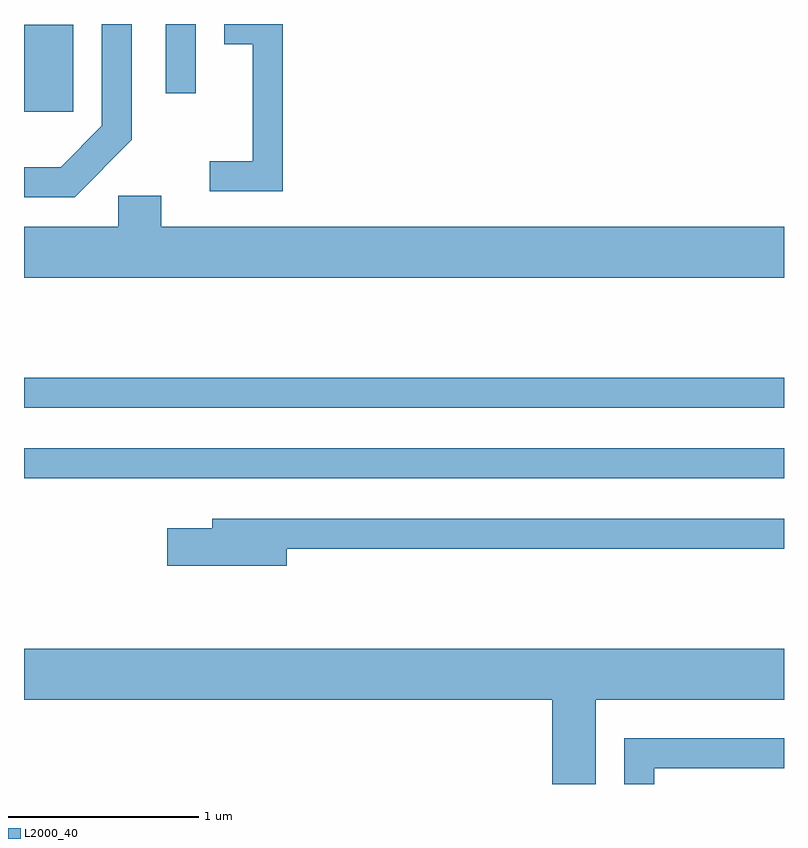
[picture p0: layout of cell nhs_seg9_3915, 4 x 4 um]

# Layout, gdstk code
import gdstk
lib = gdstk.Library(unit=1e-6, precision=1e-09)
def R(c, l, rs):  # rectangles x0, y0, x1, y1
    for r in rs: c.add(gdstk.rectangle(r[:2], r[2:], *l))
def P(c, l, *ps):  # polygons
    for p in ps: c.add(gdstk.Polygon(p, *l))
L2000_40 = (2000, 40)

nhs_seg9_3915 = lib.new_cell('nhs_seg9_3915')
R(nhs_seg9_3915, L2000_40, [(299.611,2044.041,303.611,2044.199), (299.611,2044.411,303.611,2044.569), (299.611,2045.971,299.869,2046.429), (300.356,2046.068,300.514,2046.432)])
P(nhs_seg9_3915, L2000_40, [(300.179,2045.824),(300.179,2046.432),(300.021,2046.432),(300.021,2045.897),(299.804,2045.679),(299.611,2045.679),(299.611,2045.521),(299.877,2045.521)],
  [(300.974,2046.432),(300.666,2046.432),(300.666,2046.326),(300.816,2046.326),(300.816,2045.709),(300.588,2045.709),(300.588,2045.551),(300.974,2045.551)],
  [(303.611,2045.364),(300.334,2045.364),(300.334,2045.529),(300.106,2045.529),(300.106,2045.364),(299.611,2045.364),(299.611,2045.096),(303.611,2045.096)],
  [(300.994,2043.671),(303.611,2043.671),(303.611,2043.829),(300.601,2043.829),(300.601,2043.779),(300.366,2043.779),(300.366,2043.581),(300.994,2043.581)],
  [(302.619,2042.876),(303.611,2042.876),(303.611,2043.144),(299.611,2043.144),(299.611,2042.876),(302.391,2042.876),(302.391,2042.432),(302.619,2042.432)],
  [(302.929,2042.516),(303.611,2042.516),(303.611,2042.674),(302.771,2042.674),(302.771,2042.432),(302.929,2042.432)])

lib.write_gds('nhs_seg9_3915.gds')
